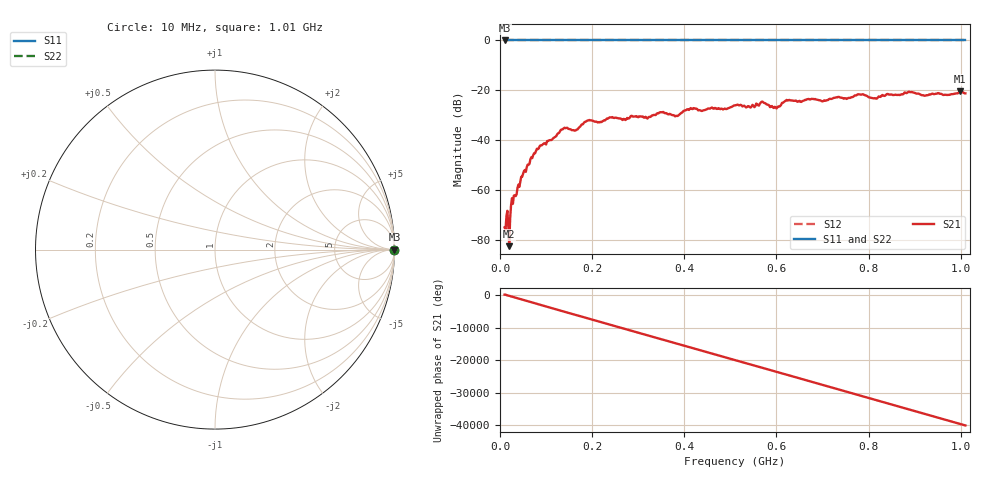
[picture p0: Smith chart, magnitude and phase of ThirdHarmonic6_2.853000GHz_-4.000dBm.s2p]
! 8/17/2025 7:43:50 AM
! C:\ANRITSUVNA\TEMP\TEMP.S2P
! CHANNEL.1
! TR.MEASUREMENT
! RAW.DATA
! RF.CORRECTION.OFF
! AVERAGING.OFF
! IF.BANDWIDTH: 5KHZ
! SWEEPTYPE:  FREQ.SWEEP(Linear)
! Reference Plane Port Info
! PORT:  PORT1  PORT2
! DISTANCE:  0  m  0  m
! TIME:  0  s  0  s
! PHASE.OFFSET:  0  deg.  0  deg.
! LOSS:  0  dB  0  dB
! REF.LOSS:  0  dB  0  dB
! REF.FREQ:  0  Hz  0  Hz
! Power Info
! POWER:  -20  dBm  -20  dBm
! EFF.POWER:  -20  dBm  -20  dBm
! SOURCE.ATTEN:  0  dB  0  dB
! TEST.ATTEN:  0  dB  0  dB
# GHZ S RI R 50.0
! FREQ.GHZ  S11RE  S11IM  S21RE  S21IM  S12RE  S12IM  S22RE  S22IM
!; PortSelection: Port_12
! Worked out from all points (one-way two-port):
!   501 points, 10 MHz to 1.01 GHz, reference 50 ohm
!   highest |S21| = -20.47 dB at 998 MHz (marker M1); lowest = -82.5 dB at 20 MHz (marker M2)
!   lowest |S11| = 0.0 dB at 10 MHz (marker M3)
!   |S11| at or under -10 dB: nowhere
!   |S22| runs from 0.0 to 0.0 dB; largest |S21 - S12| = 1.1
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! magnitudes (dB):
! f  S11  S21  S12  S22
! 10 MHz  0.0  -75.0  0.0  0.0
! 20 MHz  0.0  -82.5  0.0  0.0
! 24 MHz  0.0  -66.0  0.0  0.0
! 28 MHz  0.0  -65.5  0.0  0.0
! 50 MHz  0.0  -53.6  0.0  0.0
! 76 MHz  0.0  -45.3  0.0  0.0
! 136 MHz  0.0  -35.7  0.0  0.0
! 164 MHz  0.0  -36.1  0.0  0.0
! 178 MHz  0.0  -33.6  0.0  0.0
! 192 MHz  0.0  -32.1  0.0  0.0
! 322 MHz  0.0  -30.9  0.0  0.0
! 344 MHz  0.0  -29.3  0.0  0.0
! 384 MHz  0.0  -30.3  0.0  0.0
! 416 MHz  0.0  -27.4  0.0  0.0
! 510 MHz  0.0  -26.0  0.0  0.0
! 570 MHz  0.0  -24.6  0.0  0.0
! 598 MHz  0.0  -26.8  0.0  0.0
! 624 MHz  0.0  -24.1  0.0  0.0
! 678 MHz  0.0  -23.4  0.0  0.0
! 844 MHz  0.0  -21.7  0.0  0.0
! 998 MHz  0.0  -20.5  0.0  0.0
! 1.01 GHz  0.0  -21.2  0.0  0.0
